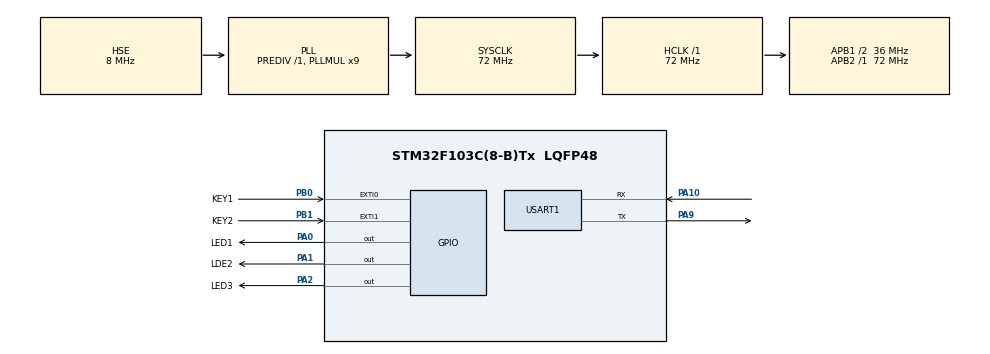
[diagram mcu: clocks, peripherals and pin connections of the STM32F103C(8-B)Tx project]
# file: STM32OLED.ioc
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Mcu.Family=STM32F1
Mcu.Name=STM32F103C(8-B)Tx
Mcu.Package=LQFP48
NVIC.EXTI0_IRQn=true\:0\:0\:false\:false\:true\:true\:true\:true
NVIC.EXTI1_IRQn=true\:0\:0\:false\:false\:true\:true\:true\:true
NVIC.PriorityGroup=NVIC_PRIORITYGROUP_4
NVIC.USART1_IRQn=true\:0\:0\:false\:false\:true\:true\:true\:true
PA0-WKUP.GPIO_Label=LED1
PA0-WKUP.PinState=GPIO_PIN_SET
PA0-WKUP.Signal=GPIO_Output
PA1.GPIO_Label=LDE2
PA1.PinState=GPIO_PIN_SET
PA1.Signal=GPIO_Output
PA10.Mode=Asynchronous
PA10.Signal=USART1_RX
PA13.Mode=Serial_Wire
PA13.Signal=SYS_JTMS-SWDIO
PA14.Mode=Serial_Wire
PA14.Signal=SYS_JTCK-SWCLK
PA2.GPIO_Label=LED3
PA2.PinState=GPIO_PIN_SET
PA2.Signal=GPIO_Output
PA9.Mode=Asynchronous
PA9.Signal=USART1_TX
PB0.GPIO_Label=KEY1
PB0.GPIO_ModeDefaultEXTI=GPIO_MODE_IT_FALLING
PB0.GPIO_PuPd=GPIO_PULLUP
PB0.Signal=GPXTI0
PB1.GPIO_Label=KEY2
PB1.GPIO_ModeDefaultEXTI=GPIO_MODE_IT_FALLING
PB1.GPIO_PuPd=GPIO_PULLUP
PB1.Signal=GPXTI1
PC14-OSC32_IN.Mode=LSE-External-Oscillator
PC14-OSC32_IN.Signal=RCC_OSC32_IN
PC15-OSC32_OUT.Mode=LSE-External-Oscillator
PC15-OSC32_OUT.Signal=RCC_OSC32_OUT
PD0-OSC_IN.Mode=HSE-External-Oscillator
PD0-OSC_IN.Signal=RCC_OSC_IN
PD1-OSC_OUT.Mode=HSE-External-Oscillator
PD1-OSC_OUT.Signal=RCC_OSC_OUT
ProjectManager.HeapSize=0x200
ProjectManager.StackSize=0x400
ProjectManager.TargetToolchain=STM32CubeIDE
RCC.AHBFreq_Value=72000000
RCC.APB1CLKDivider=RCC_HCLK_DIV2
RCC.APB1Freq_Value=36000000
RCC.APB1TimFreq_Value=72000000
RCC.APB2Freq_Value=72000000
RCC.APB2TimFreq_Value=72000000
RCC.HCLKFreq_Value=72000000
RCC.PLLMUL=RCC_PLL_MUL9
RCC.PLLSourceVirtual=RCC_PLLSOURCE_HSE
RCC.SYSCLKFreq_VALUE=72000000
RCC.SYSCLKSource=RCC_SYSCLKSOURCE_PLLCLK
RCC.USBFreq_Value=72000000
USART1.VirtualMode=VM_ASYNC
board=custom

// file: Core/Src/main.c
/* USER CODE BEGIN Header */
/**
  ******************************************************************************
  * @file           : main.c
  * @brief          : Main program body
  ******************************************************************************
  * @attention
  *
  * Copyright (c) 2026 STMicroelectronics.
  * All rights reserved.
  *
  * This software is licensed under terms that can be found in the LICENSE file
  * in the root directory of this software component.
  * If no LICENSE file comes with this software, it is provided AS-IS.
  *
  ******************************************************************************
  */
/* USER CODE END Header */
#include "main.h"
#include "usart.h"
#include "gpio.h"

/* USER CODE BEGIN Includes */
#include "OLED.h"
#include <stdio.h>
#include <string.h>
/* USER CODE END Includes */

/* USER CODE BEGIN PTD */
typedef struct
{
  uint8_t run;
  uint8_t dir;
  uint16_t step_ms;
  uint8_t led_idx;
} LightState;

typedef struct
{
  uint8_t header;
  uint8_t run;
  uint8_t dir;
  uint8_t step_l;
  uint8_t step_h;
  uint8_t checksum;
} CommandPacket;

typedef struct
{
  uint8_t bytes[sizeof(CommandPacket)];
  uint8_t length;
} PacketParser;

typedef struct
{
  volatile uint8_t edge;
  uint8_t waiting_press;
  uint8_t waiting_release;
  uint32_t changed_at;
} KeyState;

typedef struct
{
  uint8_t run;
  uint8_t dir;
  uint16_t step_ms;
  uint8_t led_idx;
} ReportState;
/* USER CODE END PTD */

/* USER CODE BEGIN PD */
#define RX_BUFFER_SIZE 512U
#define REPORT_QUEUE_SIZE 128U
#define KEY_DEBOUNCE_MS 20U
#define OLED_ALL_LINES 0x0FU
_Static_assert(sizeof(CommandPacket) == 6U, "Command packet must be 6 bytes");
/* USER CODE END PD */

/* USER CODE BEGIN PV */
static LightState g_light = {1U, 0U, 300U, 0U};
static uint32_t g_last_step_tick;
static uint8_t g_oled_dirty = OLED_ALL_LINES;

static uint8_t g_rx_byte;
static volatile uint8_t g_rx_buffer[RX_BUFFER_SIZE];
static volatile uint16_t g_rx_head;
static volatile uint16_t g_rx_tail;
static volatile uint8_t g_rx_overflow;
static PacketParser g_parser;

static KeyState g_key1;
static KeyState g_key2;

static uint8_t g_tx_buffer[64];
static volatile uint8_t g_tx_busy;
static ReportState g_reports[REPORT_QUEUE_SIZE];
static uint8_t g_report_head;
static uint8_t g_report_tail;
/* USER CODE END PV */

void SystemClock_Config(void);
/* USER CODE BEGIN PFP */
static void Light_WriteOutput(void);
static void Light_Advance(uint32_t now);
static void Light_ApplyPacket(const CommandPacket *packet, uint32_t now);
static void Key_Process(KeyState *key, uint16_t pin, uint32_t now);
static void Serial_Process(uint32_t now);
static void Serial_QueueReport(void);
static void Serial_TryReport(void);
static void OLED_RefreshOneLine(void);
/* USER CODE END PFP */

/* USER CODE BEGIN 0 */
static void Light_WriteOutput(void)
{
  const uint16_t pins[3] = {LED1_Pin, LDE2_Pin, LED3_Pin};
  HAL_GPIO_WritePin(GPIOA, LED1_Pin | LDE2_Pin | LED3_Pin, GPIO_PIN_SET);
  HAL_GPIO_WritePin(GPIOA, pins[g_light.led_idx], GPIO_PIN_RESET);
}

static void Light_Advance(uint32_t now)
{
  if (!g_light.run || (uint32_t)(now - g_last_step_tick) < g_light.step_ms)
  {
    return;
  }

  g_last_step_tick = now;
  g_light.led_idx = (uint8_t)((g_light.led_idx + (g_light.dir ? 2U : 1U)) % 3U);
  Light_WriteOutput();
  g_oled_dirty |= 0x08U;
}

static void Serial_QueueReport(void)
{
  uint8_t next = (uint8_t)((g_report_head + 1U) % REPORT_QUEUE_SIZE);
  if (next == g_report_tail)
  {
    return;
  }

  g_reports[g_report_head] = (ReportState){
    g_light.run, g_light.dir, g_light.step_ms, g_light.led_idx
  };
  g_report_head = next;
}

static void Light_ApplyPacket(const CommandPacket *packet, uint32_t now)
{
  uint8_t new_run = packet->run;
  uint8_t new_dir = packet->dir;
  uint16_t new_step = (uint16_t)packet->step_l | ((uint16_t)packet->step_h << 8);

  if (g_light.run != new_run)
  {
    g_oled_dirty |= 0x01U;
  }
  if (g_light.dir != new_dir)
  {
    g_oled_dirty |= 0x02U;
  }
  if (g_light.step_ms != new_step)
  {
    g_oled_dirty |= 0x04U;
  }

  g_light.run = new_run;
  g_light.dir = new_dir;
  g_light.step_ms = new_step;
  g_last_step_tick = now;
  Serial_QueueReport();
}

static void Key_Process(KeyState *key, uint16_t pin, uint32_t now)
{
  if (key->waiting_release)
  {
    if (HAL_GPIO_ReadPin(GPIOB, pin) == GPIO_PIN_SET)
    {
      if (key->changed_at == 0U)
      {
        key->changed_at = now ? now : 1U;
      }
      else if ((uint32_t)(now - key->changed_at) >= KEY_DEBOUNCE_MS)
      {
        key->waiting_release = 0U;
        key->edge = 0U;
        key->changed_at = 0U;
      }
    }
    else
    {
      key->changed_at = 0U;
    }
    return;
  }

  if (!key->waiting_press && key->edge)
  {
    key->edge = 0U;
    key->waiting_press = 1U;
    key->changed_at = now;
  }

  if (key->waiting_press && (uint32_t)(now - key->changed_at) >= KEY_DEBOUNCE_MS)
  {
    key->waiting_press = 0U;
    if (HAL_GPIO_ReadPin(GPIOB, pin) == GPIO_PIN_RESET)
    {
      key->waiting_release = 1U;
      key->changed_at = 0U;
      if (pin == KEY1_Pin)
      {
        g_light.dir ^= 1U;
        g_oled_dirty |= 0x02U;
      }
      else
      {
        g_light.run ^= 1U;
        g_last_step_tick = now;
        g_oled_dirty |= 0x01U;
      }
      Serial_QueueReport();
    }
  }
}

static void Serial_ParseByte(uint8_t byte, uint32_t now)
{
  if (g_parser.length == 0U)
  {
    if (byte != 0xAAU)
    {
      return;
    }
  }

  g_parser.bytes[g_parser.length++] = byte;
  if (g_parser.length == sizeof(g_parser.bytes))
  {
    const uint8_t *p = g_parser.bytes;
    CommandPacket packet = {p[0], p[1], p[2], p[3], p[4], p[5]};
    uint8_t checksum = (uint8_t)(packet.header + packet.run + packet.dir
                                 + packet.step_l + packet.step_h);
    uint16_t step = (uint16_t)packet.step_l | ((uint16_t)packet.step_h << 8);

    if (packet.header == 0xAAU && packet.checksum == checksum
        && packet.run <= 1U && packet.dir <= 1U
        && step >= 100U && step <= 2000U)
    {
      Light_ApplyPacket(&packet, now);
      g_parser.length = 0U;
    }
    else
    {
      uint8_t start = 1U;
      while (start < sizeof(g_parser.bytes) && p[start] != 0xAAU)
      {
        ++start;
      }
      g_parser.length = (uint8_t)(sizeof(g_parser.bytes) - start);
      for (uint8_t i = 0U; i < g_parser.length; ++i)
      {
        g_parser.bytes[i] = p[start + i];
      }
    }
  }
}

static void Serial_Process(uint32_t now)
{
  if (g_rx_overflow)
  {
    __disable_irq();
    g_rx_tail = g_rx_head;
    g_rx_overflow = 0U;
    __enable_irq();
    g_parser.length = 0U;
  }

  while (g_rx_tail != g_rx_head)
  {
    uint8_t byte = g_rx_buffer[g_rx_tail];
    g_rx_tail = (uint16_t)((g_rx_tail + 1U) % RX_BUFFER_SIZE);
    Serial_ParseByte(byte, now);
  }
}

static void Serial_TryReport(void)
{
  if (g_tx_busy || g_report_tail == g_report_head)
  {
    return;
  }

  const ReportState *report = &g_reports[g_report_tail];
  int count = snprintf((char *)g_tx_buffer, sizeof(g_tx_buffer),
                       "STATE=%s,DIR=%s,STEP=%u,LED=%u\r\n",
                       report->run ? "RUN" : "PAUSE",
                       report->dir ? "REV" : "FWD",
                       (unsigned)report->step_ms,
                       (unsigned)report->led_idx + 1U);
  if (count > 0 && count < (int)sizeof(g_tx_buffer))
  {
    g_tx_busy = 1U;
    if (HAL_UART_Transmit_IT(&huart1, g_tx_buffer, (uint16_t)count) != HAL_OK)
    {
      g_tx_busy = 0U;
    }
    else
    {
      g_report_tail = (uint8_t)((g_report_tail + 1U) % REPORT_QUEUE_SIZE);
    }
  }
}

static void OLED_RefreshOneLine(void)
{
  if (g_oled_dirty == 0U)
  {
    return;
  }

  uint8_t line = 0U;
  while ((g_oled_dirty & (1U << line)) == 0U)
  {
    ++line;
  }
  g_oled_dirty &= (uint8_t)~(1U << line);

  char text[17];
  switch (line)
  {
    case 0U:
      (void)snprintf(text, sizeof(text), "STATE: %s", g_light.run ? "RUN" : "PAUSE");
      break;
    case 1U:
      (void)snprintf(text, sizeof(text), "DIR: %s", g_light.dir ? "REV" : "FWD");
      break;
    case 2U:
      (void)snprintf(text, sizeof(text), "STEP: %ums", (unsigned)g_light.step_ms);
      break;
    default:
      (void)snprintf(text, sizeof(text), "LED: %u", (unsigned)g_light.led_idx + 1U);
      break;
  }

  uint8_t used = (uint8_t)strlen(text);
  for (uint8_t i = used; i < 16U; ++i)
  {
    text[i] = ' ';
  }
  text[16] = '\0';
  OLED_ShowString((uint8_t)(line + 1U), 1U, text);
}
/* USER CODE END 0 */

int main(void)
{

  /* MCU Configuration--------------------------------------------------------*/

  /* Reset of all peripherals, Initializes the Flash interface and the Systick. */
  HAL_Init();

  /* Configure the system clock */
  SystemClock_Config();

  /* Initialize all configured peripherals */
  MX_GPIO_Init();
  MX_USART1_UART_Init();
  /* USER CODE BEGIN 2 */
  OLED_Init();
  Light_WriteOutput();
  g_last_step_tick = HAL_GetTick();
  if (HAL_UART_Receive_IT(&huart1, &g_rx_byte, 1U) != HAL_OK)
  {
    Error_Handler();
  }
  /* USER CODE END 2 */

  /* Infinite loop */
  while (1)
  {

    /* USER CODE BEGIN 3 */
    uint32_t now = HAL_GetTick();
    Serial_Process(now);
    Key_Process(&g_key1, KEY1_Pin, now);
    Key_Process(&g_key2, KEY2_Pin, now);
    Light_Advance(now);
    Serial_TryReport();
    OLED_RefreshOneLine();
  }
  /* USER CODE END 3 */
}

void SystemClock_Config(void)
{
  RCC_OscInitTypeDef RCC_OscInitStruct = {0};
  RCC_ClkInitTypeDef RCC_ClkInitStruct = {0};

  /** Initializes the RCC Oscillators according to the specified parameters
  * in the RCC_OscInitTypeDef structure.
  */
  RCC_OscInitStruct.OscillatorType = RCC_OSCILLATORTYPE_HSE;
  RCC_OscInitStruct.HSEState = RCC_HSE_ON;
  RCC_OscInitStruct.HSEPredivValue = RCC_HSE_PREDIV_DIV1;
  RCC_OscInitStruct.HSIState = RCC_HSI_ON;
  RCC_OscInitStruct.PLL.PLLState = RCC_PLL_ON;
  RCC_OscInitStruct.PLL.PLLSource = RCC_PLLSOURCE_HSE;
  RCC_OscInitStruct.PLL.PLLMUL = RCC_PLL_MUL9;
  if (HAL_RCC_OscConfig(&RCC_OscInitStruct) != HAL_OK)
  {
    Error_Handler();
  }

  /** Initializes the CPU, AHB and APB buses clocks
  */
  RCC_ClkInitStruct.ClockType = RCC_CLOCKTYPE_HCLK|RCC_CLOCKTYPE_SYSCLK
                              |RCC_CLOCKTYPE_PCLK1|RCC_CLOCKTYPE_PCLK2;
  RCC_ClkInitStruct.SYSCLKSource = RCC_SYSCLKSOURCE_PLLCLK;
  RCC_ClkInitStruct.AHBCLKDivider = RCC_SYSCLK_DIV1;
  RCC_ClkInitStruct.APB1CLKDivider = RCC_HCLK_DIV2;
  RCC_ClkInitStruct.APB2CLKDivider = RCC_HCLK_DIV1;

  if (HAL_RCC_ClockConfig(&RCC_ClkInitStruct, FLASH_LATENCY_2) != HAL_OK)
  {
    Error_Handler();
  }
}

/* USER CODE BEGIN 4 */
void HAL_GPIO_EXTI_Callback(uint16_t GPIO_Pin)
{
  if (GPIO_Pin == KEY1_Pin)
  {
    g_key1.edge = 1U;
  }
  else if (GPIO_Pin == KEY2_Pin)
  {
    g_key2.edge = 1U;
  }
}

void HAL_UART_RxCpltCallback(UART_HandleTypeDef *huart)
{
  if (huart->Instance == USART1)
  {
    uint16_t next = (uint16_t)((g_rx_head + 1U) % RX_BUFFER_SIZE);
    if (next != g_rx_tail)
    {
      g_rx_buffer[g_rx_head] = g_rx_byte;
      g_rx_head = next;
    }
    else
    {
      g_rx_overflow = 1U;
    }
    (void)HAL_UART_Receive_IT(&huart1, &g_rx_byte, 1U);
  }
}

void HAL_UART_TxCpltCallback(UART_HandleTypeDef *huart)
{
  if (huart->Instance == USART1)
  {
    g_tx_busy = 0U;
  }
}

void HAL_UART_ErrorCallback(UART_HandleTypeDef *huart)
{
  if (huart->Instance == USART1)
  {
    g_rx_overflow = 1U;
    (void)HAL_UART_Receive_IT(&huart1, &g_rx_byte, 1U);
  }
}
/* USER CODE END 4 */

void Error_Handler(void)
{
  __disable_irq();
  while (1)
  {
  }
}
